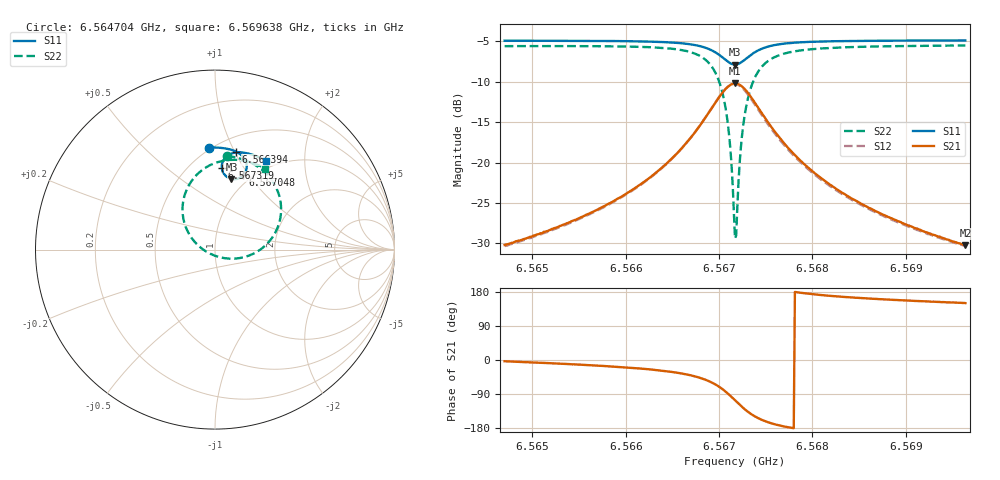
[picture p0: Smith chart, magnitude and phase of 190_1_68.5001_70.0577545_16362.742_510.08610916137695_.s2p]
#  HZ  S  RI  R  50.00
! Rohde & Schwarz Vector Network Analyzer
! Rohde-Schwarz,ZNB20-2Port,1311601062101988,3.16
! Created: UTC 3/20/2024, 5:12:12 PM
! freq[Hz]  re:S11  im:S11  re:S21  im:S21  re:S12  im:S12  re:S22  im:S22
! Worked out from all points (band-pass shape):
!   401 points, 6.564704 GHz to 6.569638 GHz, reference 50 ohm
!   highest |S21| = -10.20 dB at 6.567171 GHz (marker M1); lowest = -30.2 dB at 6.569638 GHz (marker M2)
!   |S21| within 3 dB of the highest: 6.566925 GHz to 6.567419 GHz (493.7 kHz wide, 0.00752 % of centre)
!   lowest |S11| = -7.9 dB at 6.567171 GHz (marker M3), VSWR 2.36, Z = 42.7 + j40.2 ohm
!   |S11| at or under -10 dB: nowhere
!   |S22| runs from -29.4 to -5.5 dB; largest |S21 - S12| = 0.015
!   S11 on the Smith chart (normalised r, x): 6.564704 GHz: 0.48, +0.81; 6.566394 GHz: 0.64, +1.01; 6.567048 GHz: 0.91, +0.94; 6.567319 GHz: 0.70, +0.80; 6.569638 GHz: 0.89, +1.31
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6.5647038e9  -0.036 0.5679  0.0308 -0.00178  0.0303 -0.0023  0.0655 0.5222
6.5655303e9  0.0332 0.5667  0.045 -0.00995  0.0442 -0.0106  0.1479 0.505
6.5663568e9  0.1142 0.5473  0.0797 -0.0412  0.0787 -0.042  0.268 0.4397
6.5663938e9  0.1183 0.5452  0.0825 -0.0444  0.0813 -0.0453  0.2754 0.4332
6.5666652e9  0.1522 0.5212  0.1056 -0.0847  0.1041 -0.0865  0.3365 0.354
6.5668502e9  0.1736 0.4854  0.1168 -0.1477  0.1138 -0.1508  0.3683 0.2327
6.5669612e9  0.1753 0.4484  0.1011 -0.2124  0.0954 -0.2165  0.3432 0.1096
6.5670476e9  0.1574 0.414  0.0531 -0.2707  0.0429 -0.2739  0.2539 0.00101
6.5670846e9  0.1419 0.4017  0.0179 -0.2907  0.00588 -0.2919  0.1887 -0.0337
6.5671092e9  0.129 0.3958  -0.00988 -0.2992  -0.023 -0.2988  0.1374 -0.0472
6.5671586e9  0.0994 0.3927  -0.0714 -0.3003  -0.0851 -0.2948  0.0265 -0.0425
6.5671709e9  0.0917 0.3939  -0.0868 -0.2965  -0.1004 -0.2899  -0.000853 -0.0339
6.5671833e9  0.0843 0.3959  -0.1019 -0.2915  -0.1149 -0.2836  -0.0269 -0.0229
6.5671956e9  0.0773 0.3989  -0.1162 -0.2847  -0.1287 -0.2757  -0.0516 -0.00927
6.5672326e9  0.0589 0.4116  -0.1536 -0.2578  -0.1634 -0.2462  -0.1137 0.0436
6.5672573e9  0.0497 0.4226  -0.1727 -0.2356  -0.1803 -0.2229  -0.1435 0.0854
6.567319e9  0.0382 0.4526  -0.1987 -0.1762  -0.2012 -0.1636  -0.1793 0.1927
6.5674176e9  0.0446 0.4929  -0.196 -0.0986  -0.1937 -0.0891  -0.1604 0.3276
6.5675657e9  0.0722 0.5252  -0.1604 -0.0356  -0.157 -0.0304  -0.0846 0.4326
6.5679974e9  0.1405 0.5423  -0.0882 0.00959  -0.086 0.011  0.0728 0.4991
6.5688239e9  0.2216 0.524  -0.0428 0.0162  -0.0418 0.0165  0.2049 0.4839
6.569638e9  0.2835 0.4953  -0.0267 0.0153  -0.0263 0.0154  0.2812 0.451
